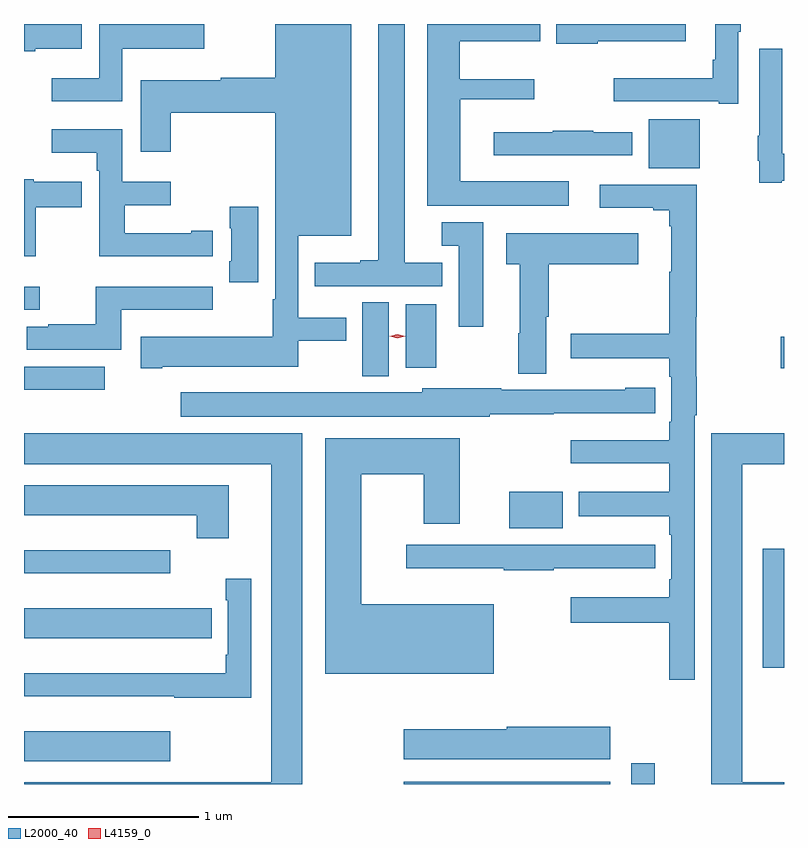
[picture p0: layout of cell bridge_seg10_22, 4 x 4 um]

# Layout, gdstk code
import gdstk
lib = gdstk.Library(unit=1e-6, precision=1e-09)
def R(c, l, rs):  # rectangles x0, y0, x1, y1
    for r in rs: c.add(gdstk.rectangle(r[:2], r[2:], *l))
def P(c, l, *ps):  # polygons
    for p in ps: c.add(gdstk.Polygon(p, *l))
L2000_40 = (2000, 40)
L4159_0 = (4159, 0)

bridge_seg10_22 = lib.new_cell('bridge_seg10_22')
R(bridge_seg10_22, L2000_40, [(1010.841,1279.596,1011.928,1279.609), (1012.04,1279.596,1012.162,1279.705), (1008.843,1279.715,1009.612,1279.873), (1012.73,1280.208,1012.843,1280.835), (1008.843,1280.363,1009.831,1280.521), (1008.843,1280.705,1009.612,1280.827), (1011.398,1280.942,1011.679,1281.133), (1008.843,1281.671,1009.267,1281.793), (1010.624,1281.743,1010.764,1282.132), (1012.827,1281.784,1012.843,1281.949), (1010.852,1281.786,1011.013,1282.12), (1008.843,1282.091,1008.925,1282.213), (1012.13,1282.838,1012.399,1283.095)])
P(bridge_seg10_22, L2000_40, [(1012.603,1283.554),(1012.616,1283.554),(1012.616,1283.596),(1012.481,1283.596),(1012.481,1283.407),(1012.469,1283.407),(1012.469,1283.311),(1011.948,1283.311),(1011.948,1283.189),(1012.499,1283.189),(1012.499,1283.177),(1012.603,1283.177)],
  [(1011.862,1283.504),(1012.327,1283.504),(1012.327,1283.596),(1011.644,1283.596),(1011.644,1283.493),(1011.862,1283.493)],
  [(1011.043,1282.339),(1010.848,1282.339),(1010.848,1283.596),(1010.708,1283.596),(1010.708,1282.352),(1010.612,1282.352),(1010.612,1282.339),(1010.372,1282.339),(1010.372,1282.217),(1011.043,1282.217)],
  [(1009.36,1283.465),(1009.792,1283.465),(1009.792,1283.596),(1009.238,1283.596),(1009.238,1283.311),(1008.99,1283.311),(1008.99,1283.189),(1009.36,1283.189)],
  [(1011.709,1282.768),(1011.139,1282.768),(1011.139,1283.201),(1011.529,1283.201),(1011.529,1283.305),(1011.137,1283.305),(1011.137,1283.504),(1011.559,1283.504),(1011.559,1283.596),(1010.966,1283.596),(1010.966,1282.64),(1011.709,1282.64)],
  [(1008.902,1283.465),(1009.147,1283.465),(1009.147,1283.595),(1008.843,1283.595),(1008.843,1283.453),(1008.902,1283.453)],
  [(1012.83,1282.772),(1012.843,1282.772),(1012.843,1282.912),(1012.834,1282.912),(1012.834,1283.467),(1012.712,1283.467),(1012.712,1283.008),(1012.705,1283.008),(1012.705,1282.876),(1012.712,1282.876),(1012.712,1282.76),(1012.83,1282.76)],
  [(1009.837,1282.508),(1009.724,1282.508),(1009.724,1282.495),(1009.373,1282.495),(1009.373,1282.643),(1009.615,1282.643),(1009.615,1282.765),(1009.36,1282.765),(1009.36,1283.041),(1008.99,1283.041),(1008.99,1282.919),(1009.226,1282.919),(1009.226,1282.823),(1009.238,1282.823),(1009.238,1282.373),(1009.837,1282.373)],
  [(1012.045,1283.026),(1011.838,1283.026),(1011.838,1283.034),(1011.627,1283.034),(1011.627,1283.026),(1011.315,1283.026),(1011.315,1282.904),(1012.045,1282.904)],
  [(1008.906,1282.631),(1009.147,1282.631),(1009.147,1282.765),(1008.894,1282.765),(1008.894,1282.778),(1008.843,1282.778),(1008.843,1282.373),(1008.906,1282.373)],
  [(1012.372,1281.538),(1012.385,1281.538),(1012.385,1281.74),(1012.38,1281.74),(1012.38,1282.054),(1012.385,1282.054),(1012.385,1282.75),(1011.873,1282.75),(1011.873,1282.628),(1012.154,1282.628),(1012.154,1282.616),(1012.238,1282.616),(1012.238,1282.532),(1012.25,1282.532),(1012.25,1282.293),(1012.238,1282.293),(1012.238,1281.966),(1011.72,1281.966),(1011.72,1281.836),(1012.238,1281.836),(1012.238,1281.74),(1012.25,1281.74),(1012.25,1281.502),(1012.238,1281.502),(1012.238,1281.406),(1011.72,1281.406),(1011.72,1281.284),(1012.238,1281.284),(1012.238,1281.133),(1011.764,1281.133),(1011.764,1281.005),(1012.238,1281.005),(1012.238,1280.909),(1012.25,1280.909),(1012.25,1280.674),(1012.238,1280.674),(1012.238,1280.578),(1011.72,1280.578),(1011.72,1280.444),(1012.238,1280.444),(1012.238,1280.145),(1012.372,1280.145)],
  [(1010.077,1282.633),(1009.927,1282.633),(1009.927,1282.52),(1009.934,1282.52),(1009.934,1282.348),(1009.922,1282.348),(1009.922,1282.236),(1010.077,1282.236)],
  [(1011.259,1282.552),(1011.042,1282.552),(1011.042,1282.43),(1011.131,1282.43),(1011.131,1282.002),(1011.259,1282.002)],
  [(1011.592,1282.054),(1011.605,1282.054),(1011.605,1282.331),(1012.075,1282.331),(1012.075,1282.495),(1011.381,1282.495),(1011.381,1282.331),(1011.452,1282.331),(1011.452,1281.968),(1011.445,1281.968),(1011.445,1281.756),(1011.592,1281.756)],
  [(1009.355,1282.091),(1009.837,1282.091),(1009.837,1282.213),(1009.22,1282.213),(1009.22,1282.016),(1008.97,1282.016),(1008.97,1282.003),(1008.858,1282.003),(1008.858,1281.881),(1009.355,1281.881)],
  [(1010.287,1282.481),(1010.566,1282.481),(1010.566,1283.596),(1010.165,1283.596),(1010.165,1283.312),(1009.879,1283.312),(1009.879,1283.299),(1009.457,1283.299),(1009.457,1282.923),(1009.616,1282.923),(1009.616,1283.129),(1010.165,1283.129),(1010.165,1282.148),(1010.153,1282.148),(1010.153,1281.949),(1009.458,1281.949),(1009.458,1281.784),(1009.57,1281.784),(1009.57,1281.791),(1010.287,1281.791),(1010.287,1281.929),(1010.539,1281.929),(1010.539,1282.051),(1010.287,1282.051)],
  [(1011.295,1281.541),(1011.632,1281.541),(1011.632,1281.548),(1012.165,1281.548),(1012.165,1281.682),(1012.008,1281.682),(1012.008,1281.67),(1011.356,1281.67),(1011.356,1281.678),(1010.94,1281.678),(1010.94,1281.658),(1009.668,1281.658),(1009.668,1281.53),(1011.295,1281.53)],
  [(1010.308,1281.442),(1008.843,1281.442),(1008.843,1281.278),(1010.144,1281.278),(1010.144,1279.606),(1008.843,1279.606),(1008.843,1279.596),(1010.308,1279.596)],
  [(1012.843,1279.606),(1012.624,1279.606),(1012.624,1281.278),(1012.843,1281.278),(1012.843,1281.442),(1012.46,1281.442),(1012.46,1279.596),(1012.843,1279.596)],
  [(1011.316,1280.542),(1010.617,1280.542),(1010.617,1281.227),(1010.948,1281.227),(1010.948,1280.966),(1011.136,1280.966),(1011.136,1281.415),(1010.429,1281.415),(1010.429,1280.177),(1011.316,1280.177)],
  [(1009.921,1281.169),(1008.843,1281.169),(1008.843,1281.011),(1009.751,1281.011),(1009.751,1280.889),(1009.921,1280.889)],
  [(1011.632,1280.732),(1012.165,1280.732),(1012.165,1280.854),(1010.856,1280.854),(1010.856,1280.732),(1011.368,1280.732),(1011.368,1280.72),(1011.632,1280.72)],
  [(1010.038,1280.677),(1009.904,1280.677),(1009.904,1280.564),(1009.916,1280.564),(1009.916,1280.275),(1009.904,1280.275),(1009.904,1280.179),(1008.843,1280.179),(1008.843,1280.057),(1009.634,1280.057),(1009.634,1280.05),(1010.038,1280.05)],
  [(1011.928,1279.898),(1011.384,1279.898),(1011.384,1279.885),(1010.841,1279.885),(1010.841,1279.727),(1011.928,1279.727)])
P(bridge_seg10_22, L4159_0, [(1010.808,1281.942),(1010.767,1281.952),(1010.767,1281.952),(1010.767,1281.952),(1010.808,1281.962),(1010.849,1281.953),(1010.849,1281.952),(1010.849,1281.952)])

lib.write_gds('bridge_seg10_22.gds')
